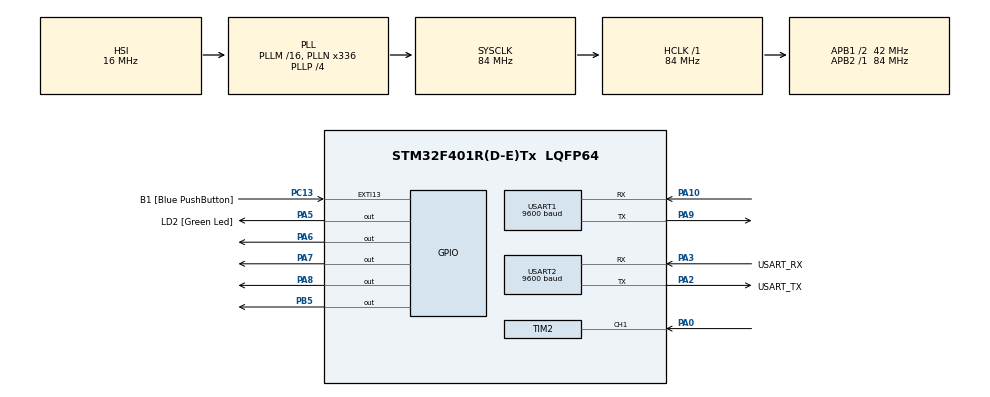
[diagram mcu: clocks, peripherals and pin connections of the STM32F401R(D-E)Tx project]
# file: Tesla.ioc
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Mcu.Family=STM32F4
Mcu.Name=STM32F401R(D-E)Tx
Mcu.Package=LQFP64
NVIC.EXTI15_10_IRQn=true\:0\:0\:false\:false\:true\:true\:true\:true
NVIC.PriorityGroup=NVIC_PRIORITYGROUP_0
NVIC.TIM2_IRQn=true\:0\:0\:false\:false\:true\:true\:true\:true
NVIC.USART1_IRQn=true\:0\:0\:false\:false\:true\:true\:true\:true
NVIC.USART2_IRQn=true\:0\:0\:false\:false\:true\:true\:true\:true
PA0-WKUP.Signal=S_TIM2_CH1_ETR
PA10.Mode=Asynchronous
PA10.Signal=USART1_RX
PA13.GPIO_Label=TMS
PA13.Mode=Serial_Wire
PA13.Signal=SYS_JTMS-SWDIO
PA14.GPIO_Label=TCK
PA14.Mode=Serial_Wire
PA14.Signal=SYS_JTCK-SWCLK
PA2.GPIO_Label=USART_TX
PA2.GPIO_Mode=GPIO_MODE_AF_PP
PA2.GPIO_PuPd=GPIO_NOPULL
PA2.GPIO_Speed=GPIO_SPEED_FREQ_LOW
PA2.Mode=Asynchronous
PA2.Signal=USART2_TX
PA3.GPIO_Label=USART_RX
PA3.GPIO_Mode=GPIO_MODE_AF_PP
PA3.GPIO_PuPd=GPIO_NOPULL
PA3.GPIO_Speed=GPIO_SPEED_FREQ_LOW
PA3.Mode=Asynchronous
PA3.Signal=USART2_RX
PA5.GPIO_Label=LD2 [Green Led]
PA5.GPIO_Mode=GPIO_MODE_OUTPUT_PP
PA5.GPIO_PuPd=GPIO_NOPULL
PA5.GPIO_Speed=GPIO_SPEED_FREQ_LOW
PA5.Signal=GPIO_Output
PA6.Signal=GPIO_Output
PA7.Signal=GPIO_Output
PA8.Signal=GPIO_Output
PA9.Mode=Asynchronous
PA9.Signal=USART1_TX
PB3.GPIO_Label=SWO
PB3.Signal=SYS_JTDO-SWO
PB5.Signal=GPIO_Output
PC13-ANTI_TAMP.GPIO_Label=B1 [Blue PushButton]
PC13-ANTI_TAMP.GPIO_ModeDefaultEXTI=GPIO_MODE_IT_RISING
PC13-ANTI_TAMP.GPIO_PuPd=GPIO_NOPULL
PC13-ANTI_TAMP.Signal=GPXTI13
PC14-OSC32_IN.Mode=LSE-External-Oscillator
PC14-OSC32_IN.Signal=RCC_OSC32_IN
PC15-OSC32_OUT.Mode=LSE-External-Oscillator
PC15-OSC32_OUT.Signal=RCC_OSC32_OUT
PH0\ -\ OSC_IN.Mode=HSE-External-Clock-Source
PH0\ -\ OSC_IN.Signal=RCC_OSC_IN
PH1\ -\ OSC_OUT.Mode=HSE-External-Clock-Source
PH1\ -\ OSC_OUT.Signal=RCC_OSC_OUT
ProjectManager.HeapSize=0x200
ProjectManager.StackSize=0x400
ProjectManager.TargetToolchain=STM32CubeIDE
RCC.48MHZClocksFreq_Value=48000000
RCC.AHBFreq_Value=84000000
RCC.APB1CLKDivider=RCC_HCLK_DIV2
RCC.APB1Freq_Value=42000000
RCC.APB1TimFreq_Value=84000000
RCC.APB2Freq_Value=84000000
RCC.APB2TimFreq_Value=84000000
RCC.CortexFreq_Value=84000000
RCC.HCLKFreq_Value=84000000
RCC.HSE_VALUE=8000000
RCC.HSI_VALUE=16000000
RCC.PLLN=336
RCC.PLLP=RCC_PLLP_DIV4
RCC.PLLQ=7
RCC.SYSCLKFreq_VALUE=84000000
RCC.SYSCLKSource=RCC_SYSCLKSOURCE_PLLCLK
RCC.VCOOutputFreq_Value=336000000
SH.S_TIM2_CH1_ETR.0=TIM2_CH1,Input_Capture1_from_TI1
TIM2.Channel-Input_Capture1_from_TI1=TIM_CHANNEL_1
TIM2.ICPolarity_CH1=TIM_INPUTCHANNELPOLARITY_BOTHEDGE
TIM2.Prescaler=84
USART1.BaudRate=9600
USART1.VirtualMode=VM_ASYNC
USART2.BaudRate=9600
USART2.VirtualMode=VM_ASYNC
VP_TIM2_VS_ClockSourceINT.Mode=Internal
board=NUCLEO-F401RE

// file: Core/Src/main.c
/* USER CODE BEGIN Header */
/**
  ******************************************************************************
  * @file           : main.c
  * @brief          : Main program body
  ******************************************************************************
  * @attention
  *
  * Copyright (c) 2023 STMicroelectronics.
  * All rights reserved.
  *
  * This software is licensed under terms that can be found in the LICENSE file
  * in the root directory of this software component.
  * If no LICENSE file comes with this software, it is provided AS-IS.
  *
  ******************************************************************************
  */
/* USER CODE END Header */
#include "main.h"

/* USER CODE BEGIN PD */
#define TRIG_PIN GPIO_PIN_8 // Faudra brancher le pin "Trig" de l'ultrason sur le port PA8 qui sera en OUTPUT
#define TRIG_PORT GPIOA

#define LED_RIGHT_PIN GPIO_PIN_7
#define LED_LEFT_PIN GPIO_PIN_6
#define LED_PORT GPIOA
/* USER CODE END PD */

TIM_HandleTypeDef htim2;

UART_HandleTypeDef huart1;
UART_HandleTypeDef huart2;

/* USER CODE BEGIN PV */
uint64_t IC_Val1 = 0;
uint64_t IC_Val2 = 0;
double Difference = 0;
uint8_t Is_First_Captured = 0;
double Distance = 0;
uint8_t DistanceCm = 0;
uint8_t Rx_data[10];
/* USER CODE END PV */

void SystemClock_Config(void);
static void MX_GPIO_Init(void);
static void MX_USART2_UART_Init(void);
static void MX_TIM2_Init(void);
static void MX_USART1_UART_Init(void);

/* USER CODE BEGIN 0 */
void HCSR04_Read(void) {
    HAL_GPIO_WritePin(TRIG_PORT, TRIG_PIN, GPIO_PIN_SET);
    HAL_Delay(10);
    HAL_GPIO_WritePin(TRIG_PORT, TRIG_PIN, GPIO_PIN_RESET);
    HAL_TIM_IC_Start_IT(&htim2, TIM_CHANNEL_1);
}

void HAL_TIM_IC_CaptureCallback(TIM_HandleTypeDef *htim) {
    if (Is_First_Captured == 0) {
        IC_Val1 = HAL_TIM_ReadCapturedValue(&htim2, TIM_CHANNEL_1);
        Is_First_Captured = 1;

    } else  {
        IC_Val2 = HAL_TIM_ReadCapturedValue(&htim2, TIM_CHANNEL_1);

        if (IC_Val2 > IC_Val1) {
            Difference = IC_Val2 - IC_Val1;
        } else {
            Difference = IC_Val1 - IC_Val2;
        }

        Difference = Difference / 1000000;
        Distance = Difference * 340 / 2;
        Distance = Distance * 100;
        DistanceCm = (uint8_t) Distance;
        HAL_UART_Transmit(&huart1, (uint8_t *) &DistanceCm, sizeof(DistanceCm), 1000);
        Is_First_Captured = 0;
        TIM3->CNT = 0;
    }
}

void HAL_UART_RxCpltCallback(UART_HandleTypeDef *huart) {
    if(Rx_data[0] == '1') {
        HAL_GPIO_WritePin(LED_PORT, LED_LEFT_PIN, 1);
    } else {
        HAL_GPIO_WritePin(LED_PORT, LED_LEFT_PIN, 0);
    }

    if(Rx_data[2] == '1') {
        HAL_GPIO_WritePin(LED_PORT, LED_RIGHT_PIN, 1);
    } else {
        HAL_GPIO_WritePin(LED_PORT, LED_RIGHT_PIN, 0);
    }
}
/* USER CODE END 0 */

int main(void)
{

  /* MCU Configuration--------------------------------------------------------*/

  /* Reset of all peripherals, Initializes the Flash interface and the Systick. */
  HAL_Init();

  /* Configure the system clock */
  SystemClock_Config();

  /* Initialize all configured peripherals */
  MX_GPIO_Init();
  MX_USART2_UART_Init();
  MX_TIM2_Init();
  MX_USART1_UART_Init();
  /* USER CODE BEGIN 2 */
  char buf[1] = {40};
  /* USER CODE END 2 */

  /* Infinite loop */
  /* USER CODE BEGIN WHILE */
  while (1)
   {
        HAL_UART_Receive_IT(&huart1, Rx_data, 3);
        HCSR04_Read();
        //HAL_Delay(500);
    /* USER CODE END WHILE */

    }
}

void SystemClock_Config(void)
{
  RCC_OscInitTypeDef RCC_OscInitStruct = {0};
  RCC_ClkInitTypeDef RCC_ClkInitStruct = {0};

  /** Configure the main internal regulator output voltage
  */
  __HAL_RCC_PWR_CLK_ENABLE();
  __HAL_PWR_VOLTAGESCALING_CONFIG(PWR_REGULATOR_VOLTAGE_SCALE2);

  /** Initializes the RCC Oscillators according to the specified parameters
  * in the RCC_OscInitTypeDef structure.
  */
  RCC_OscInitStruct.OscillatorType = RCC_OSCILLATORTYPE_HSI;
  RCC_OscInitStruct.HSIState = RCC_HSI_ON;
  RCC_OscInitStruct.HSICalibrationValue = RCC_HSICALIBRATION_DEFAULT;
  RCC_OscInitStruct.PLL.PLLState = RCC_PLL_ON;
  RCC_OscInitStruct.PLL.PLLSource = RCC_PLLSOURCE_HSI;
  RCC_OscInitStruct.PLL.PLLM = 16;
  RCC_OscInitStruct.PLL.PLLN = 336;
  RCC_OscInitStruct.PLL.PLLP = RCC_PLLP_DIV4;
  RCC_OscInitStruct.PLL.PLLQ = 7;
  if (HAL_RCC_OscConfig(&RCC_OscInitStruct) != HAL_OK)
  {
    Error_Handler();
  }

  /** Initializes the CPU, AHB and APB buses clocks
  */
  RCC_ClkInitStruct.ClockType = RCC_CLOCKTYPE_HCLK|RCC_CLOCKTYPE_SYSCLK
                              |RCC_CLOCKTYPE_PCLK1|RCC_CLOCKTYPE_PCLK2;
  RCC_ClkInitStruct.SYSCLKSource = RCC_SYSCLKSOURCE_PLLCLK;
  RCC_ClkInitStruct.AHBCLKDivider = RCC_SYSCLK_DIV1;
  RCC_ClkInitStruct.APB1CLKDivider = RCC_HCLK_DIV2;
  RCC_ClkInitStruct.APB2CLKDivider = RCC_HCLK_DIV1;

  if (HAL_RCC_ClockConfig(&RCC_ClkInitStruct, FLASH_LATENCY_2) != HAL_OK)
  {
    Error_Handler();
  }
}

static void MX_TIM2_Init(void)
{

  TIM_ClockConfigTypeDef sClockSourceConfig = {0};
  TIM_MasterConfigTypeDef sMasterConfig = {0};
  TIM_IC_InitTypeDef sConfigIC = {0};

  htim2.Instance = TIM2;
  htim2.Init.Prescaler = 84;
  htim2.Init.CounterMode = TIM_COUNTERMODE_UP;
  htim2.Init.Period = 4294967295;
  htim2.Init.ClockDivision = TIM_CLOCKDIVISION_DIV1;
  htim2.Init.AutoReloadPreload = TIM_AUTORELOAD_PRELOAD_DISABLE;
  if (HAL_TIM_Base_Init(&htim2) != HAL_OK)
  {
    Error_Handler();
  }
  sClockSourceConfig.ClockSource = TIM_CLOCKSOURCE_INTERNAL;
  if (HAL_TIM_ConfigClockSource(&htim2, &sClockSourceConfig) != HAL_OK)
  {
    Error_Handler();
  }
  if (HAL_TIM_IC_Init(&htim2) != HAL_OK)
  {
    Error_Handler();
  }
  sMasterConfig.MasterOutputTrigger = TIM_TRGO_RESET;
  sMasterConfig.MasterSlaveMode = TIM_MASTERSLAVEMODE_DISABLE;
  if (HAL_TIMEx_MasterConfigSynchronization(&htim2, &sMasterConfig) != HAL_OK)
  {
    Error_Handler();
  }
  sConfigIC.ICPolarity = TIM_INPUTCHANNELPOLARITY_BOTHEDGE;
  sConfigIC.ICSelection = TIM_ICSELECTION_DIRECTTI;
  sConfigIC.ICPrescaler = TIM_ICPSC_DIV1;
  sConfigIC.ICFilter = 0;
  if (HAL_TIM_IC_ConfigChannel(&htim2, &sConfigIC, TIM_CHANNEL_1) != HAL_OK)
  {
    Error_Handler();
  }

}

static void MX_USART1_UART_Init(void)
{

  huart1.Instance = USART1;
  huart1.Init.BaudRate = 9600;
  huart1.Init.WordLength = UART_WORDLENGTH_8B;
  huart1.Init.StopBits = UART_STOPBITS_1;
  huart1.Init.Parity = UART_PARITY_NONE;
  huart1.Init.Mode = UART_MODE_TX_RX;
  huart1.Init.HwFlowCtl = UART_HWCONTROL_NONE;
  huart1.Init.OverSampling = UART_OVERSAMPLING_16;
  if (HAL_UART_Init(&huart1) != HAL_OK)
  {
    Error_Handler();
  }

}

static void MX_USART2_UART_Init(void)
{

  huart2.Instance = USART2;
  huart2.Init.BaudRate = 9600;
  huart2.Init.WordLength = UART_WORDLENGTH_8B;
  huart2.Init.StopBits = UART_STOPBITS_1;
  huart2.Init.Parity = UART_PARITY_NONE;
  huart2.Init.Mode = UART_MODE_TX_RX;
  huart2.Init.HwFlowCtl = UART_HWCONTROL_NONE;
  huart2.Init.OverSampling = UART_OVERSAMPLING_16;
  if (HAL_UART_Init(&huart2) != HAL_OK)
  {
    Error_Handler();
  }

}

static void MX_GPIO_Init(void)
{
  GPIO_InitTypeDef GPIO_InitStruct = {0};

  /* GPIO Ports Clock Enable */
  __HAL_RCC_GPIOC_CLK_ENABLE();
  __HAL_RCC_GPIOH_CLK_ENABLE();
  __HAL_RCC_GPIOA_CLK_ENABLE();
  __HAL_RCC_GPIOB_CLK_ENABLE();

  /*Configure GPIO pin Output Level */
  HAL_GPIO_WritePin(GPIOA, LD2_Pin|GPIO_PIN_6|GPIO_PIN_7|GPIO_PIN_8, GPIO_PIN_RESET);

  /*Configure GPIO pin Output Level */
  HAL_GPIO_WritePin(GPIOB, GPIO_PIN_5, GPIO_PIN_RESET);

  /*Configure GPIO pin : B1_Pin */
  GPIO_InitStruct.Pin = B1_Pin;
  GPIO_InitStruct.Mode = GPIO_MODE_IT_RISING;
  GPIO_InitStruct.Pull = GPIO_NOPULL;
  HAL_GPIO_Init(B1_GPIO_Port, &GPIO_InitStruct);

  /*Configure GPIO pins : LD2_Pin PA6 PA7 PA8 */
  GPIO_InitStruct.Pin = LD2_Pin|GPIO_PIN_6|GPIO_PIN_7|GPIO_PIN_8;
  GPIO_InitStruct.Mode = GPIO_MODE_OUTPUT_PP;
  GPIO_InitStruct.Pull = GPIO_NOPULL;
  GPIO_InitStruct.Speed = GPIO_SPEED_FREQ_LOW;
  HAL_GPIO_Init(GPIOA, &GPIO_InitStruct);

  /*Configure GPIO pin : PB5 */
  GPIO_InitStruct.Pin = GPIO_PIN_5;
  GPIO_InitStruct.Mode = GPIO_MODE_OUTPUT_PP;
  GPIO_InitStruct.Pull = GPIO_NOPULL;
  GPIO_InitStruct.Speed = GPIO_SPEED_FREQ_LOW;
  HAL_GPIO_Init(GPIOB, &GPIO_InitStruct);

  /* EXTI interrupt init*/
  HAL_NVIC_SetPriority(EXTI15_10_IRQn, 0, 0);
  HAL_NVIC_EnableIRQ(EXTI15_10_IRQn);

}

void Error_Handler(void)
{
  __disable_irq();
  while (1)
  {
  }
}
